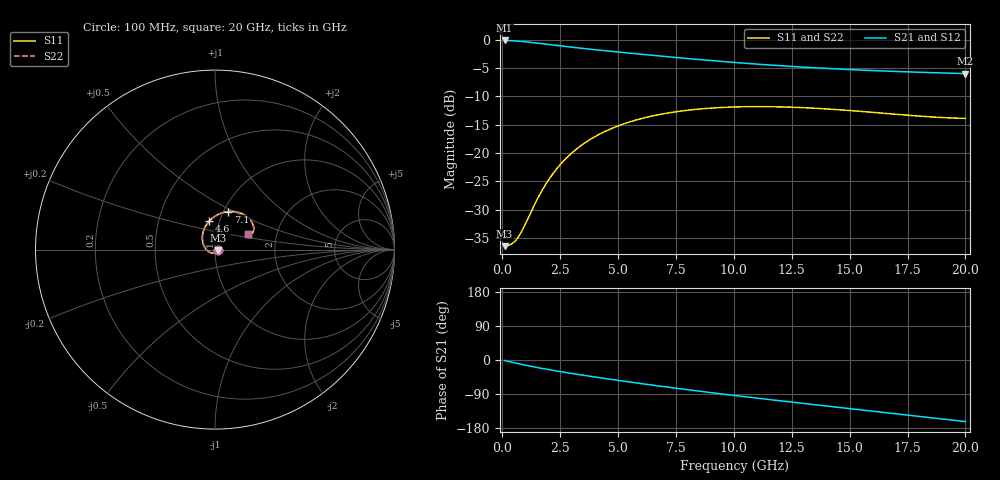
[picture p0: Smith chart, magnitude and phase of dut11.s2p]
! Created with skrf 1.9.0 (http://scikit-rf.org).
# GHz S RI R 50.0
!freq ReS11 ImS11 ReS21 ImS21 ReS12 ImS12 ReS22 ImS22
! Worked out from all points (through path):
!   200 points, 100 MHz to 20 GHz, reference 50 ohm
!   highest |S21| = -0.13 dB at 100 MHz (marker M1); lowest = -6.0 dB at 20 GHz (marker M2)
!   group delay of S21, straight-line fit = 21.4 ps
!   lowest |S11| = -36.4 dB at 100 MHz (marker M3), VSWR 1.03, Z = 51.5 - j0.357 ohm
!   |S11| at or under -10 dB: start of sweep to end of sweep
!   |S22| runs from -36.4 to -11.8 dB; largest |S21 - S12| = 2.1e-15
!   S11 on the Smith chart (normalised r, x): 100 MHz: 1.03, -0.01; 4.6 GHz: 0.89, +0.29; 7.1 GHz: 1.05, +0.47; 20 GHz: 1.41, +0.26
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0.1  0.0147 -0.00346  0.9843 -0.0242  0.9843 -0.0242  0.0147 -0.00346
0.4  0.00994 -0.0123  0.9753 -0.0963  0.9753 -0.0963  0.00994 -0.0123
0.7  -7.89e-05 -0.0183  0.9571 -0.1642  0.9571 -0.1642  -7.89e-05 -0.0183
0.9  -0.0088 -0.0197  0.9408 -0.2063  0.9408 -0.2063  -0.0088 -0.0197
1.2  -0.0233 -0.0174  0.9118 -0.2642  0.9118 -0.2642  -0.0233 -0.0174
1.7  -0.0462 -0.00248  0.8559 -0.3468  0.8559 -0.3468  -0.0462 -0.00248
2  -0.057 0.0117  0.8202 -0.3889  0.8202 -0.3889  -0.057 0.0117
2.3  -0.0648 0.0283  0.7839 -0.4263  0.7839 -0.4263  -0.0648 0.0283
2.9  -0.0706 0.0651  0.711 -0.4896  0.711 -0.4896  -0.0706 0.0651
3.5  -0.0649 0.1016  0.6385 -0.5408  0.6385 -0.5408  -0.0649 0.1016
4.6  -0.0331 0.1575  0.5073 -0.6099  0.5073 -0.6099  -0.0331 0.1575
5.6  0.00852 0.191  0.3911 -0.6488  0.3911 -0.6488  0.00852 0.191
6.8  0.0622 0.2103  0.2586 -0.67  0.2586 -0.67  0.0622 0.2103
7.1  0.0752 0.212  0.2271 -0.6715  0.2271 -0.6715  0.0752 0.212
8.5  0.1297 0.2075  0.0899 -0.6624  0.0899 -0.6624  0.1297 0.2075
10.1  0.1757 0.1856  -0.0458 -0.6268  -0.0458 -0.6268  0.1757 0.1856
11.7  0.2033 0.1564  -0.1598 -0.5733  -0.1598 -0.5733  0.2033 0.1564
13.4  0.2153 0.1259  -0.2601 -0.5034  -0.2601 -0.5034  0.2153 0.1259
15  0.2141 0.1029  -0.3375 -0.4285  -0.3375 -0.4285  0.2141 0.1029
16.7  0.2046 0.0878  -0.4028 -0.3408  -0.4028 -0.3408  0.2046 0.0878
18.4  0.1918 0.0837  -0.4508 -0.2456  -0.4508 -0.2456  0.1918 0.0837
20  0.1816 0.0895  -0.479 -0.1507  -0.479 -0.1507  0.1816 0.0895
